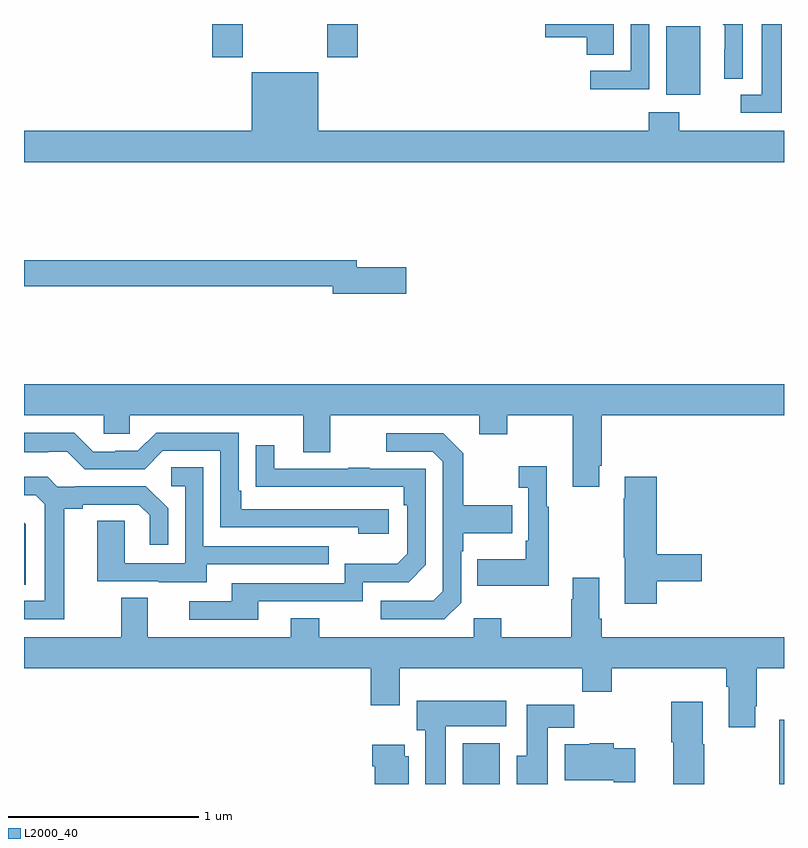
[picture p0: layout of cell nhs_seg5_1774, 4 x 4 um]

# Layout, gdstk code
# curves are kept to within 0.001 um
import gdstk
lib = gdstk.Library(unit=1e-6, precision=1e-09)
def R(c, l, rs):  # rectangles x0, y0, x1, y1
    for r in rs: c.add(gdstk.rectangle(r[:2], r[2:], *l))
def P(c, l, *ps):  # polygons
    for p in ps: c.add(gdstk.Polygon(p, *l))
L2000_40 = (2000, 40)

nhs_seg5_1774 = lib.new_cell('nhs_seg5_1774')
R(nhs_seg5_1774, L2000_40, [(219.308,874.799,219.505,875.014), (220.974,874.799,221,875.137), (220.379,878.426,220.558,878.787), (217.991,878.625,218.151,878.799), (218.596,878.625,218.756,878.799)])
P(nhs_seg5_1774, L2000_40, [(220.105,878.799),(219.744,878.799),(219.744,878.729),(219.962,878.729),(219.962,878.638),(220.105,878.638)],
  [(220.782,878.799),(220.678,878.799),(220.688,878.789),(220.688,878.666),(220.686,878.666),(220.686,878.512),(220.782,878.512)],
  [(220.29,878.799),(220.194,878.799),(220.194,878.553),(219.981,878.553),(219.981,878.455),(220.29,878.455)],
  [(220.987,878.799),(220.883,878.799),(220.883,878.427),(220.773,878.427),(220.773,878.331),(220.987,878.331)],
  [(221,878.236),(220.449,878.236),(220.449,878.335),(220.289,878.335),(220.289,878.236),(218.548,878.236),(218.548,878.545),(218.198,878.545),(218.198,878.236),(217,878.236),(217,878.072),(221,878.072)],
  [(219.013,877.52),(218.752,877.52),(218.752,877.556),(217,877.556),(217,877.42),(218.624,877.42),(218.624,877.378),(219.013,877.378)],
  [(220.027,876.475),(220.04,876.475),(220.04,876.74),(221,876.74),(221,876.904),(217,876.904),(217,876.74),(217.419,876.74),(217.419,876.642),(217.557,876.642),(217.557,876.74),(218.471,876.74),(218.471,876.546),(218.611,876.546),(218.611,876.74),(219.395,876.74),(219.395,876.641),(219.543,876.641),(219.543,876.74),(219.887,876.74),(219.887,876.363),(220.027,876.363)],
  [(218.92,876.246),(218.143,876.246),(218.143,876.343),(218.13,876.343),(218.13,876.648),(217.695,876.648),(217.599,876.552),(217.481,876.552),(217.481,876.549),(217.365,876.549),(217.265,876.649),(217,876.649),(217,876.545),(217.127,876.545),(217.127,876.549),(217.227,876.549),(217.32,876.456),(217.635,876.456),(217.731,876.552),(218.034,876.552),(218.034,876.15),(218.759,876.15),(218.759,876.116),(218.92,876.116)],
  [(219.3,875.754),(219.3,876.023),(219.313,876.023),(219.313,876.119),(219.569,876.119),(219.569,876.267),(219.313,876.267),(219.313,876.539),(219.207,876.645),(218.907,876.645),(218.907,876.549),(219.15,876.549),(219.204,876.495),(219.204,875.814),(219.153,875.763),(218.877,875.763),(218.877,875.667),(219.213,875.667)],
  [(218.233,875.76),(218.784,875.76),(218.784,875.862),(219.024,875.862),(219.114,875.952),(219.114,876.459),(218.819,876.459),(218.819,876.464),(218.707,876.464),(218.707,876.459),(218.317,876.459),(218.317,876.583),(218.221,876.583),(218.221,876.364),(218.998,876.363),(218.998,876.266),(219.018,876.266),(219.018,876.012),(218.965,875.959),(218.688,875.959),(218.688,875.856),(218.093,875.856),(218.093,875.76),(217.869,875.76),(217.869,875.664),(218.233,875.664)],
  [(219.763,876.259),(219.751,876.259),(219.751,876.472),(219.603,876.472),(219.603,876.359),(219.654,876.359),(219.654,876.079),(219.642,876.079),(219.642,875.983),(219.385,875.983),(219.385,875.843),(219.763,875.843)],
  [(217.963,875.955),(218.603,875.955),(218.603,876.051),(217.944,876.051),(217.944,876.467),(217.776,876.467),(217.776,876.366),(217.848,876.366),(217.848,875.961),(217.53,875.961),(217.53,876.185),(217.385,876.185),(217.385,875.865),(217.709,875.865),(217.709,875.861),(217.963,875.861)],
  [(220.331,875.866),(220.567,875.866),(220.567,876.008),(220.331,876.008),(220.331,876.415),(220.163,876.415),(220.163,876.302),(220.156,876.302),(220.156,875.991),(220.163,875.991),(220.163,875.748),(220.331,875.748)],
  [(217.213,876.248),(217.309,876.248),(217.309,876.27),(217.604,876.27),(217.661,876.213),(217.661,876.057),(217.758,876.057),(217.758,876.25),(217.642,876.366),(217.27,876.366),(217.27,876.363),(217.176,876.363),(217.124,876.415),(217,876.415),(217,876.318),(217.062,876.318),(217.109,876.271),(217.109,875.763),(217,875.763),(217,875.667),(217.213,875.667)],
  [(217.008,876.166),(217,876.174),(217,875.848),(217.008,875.848)],
  [(220.04,875.668),(220.027,875.668),(220.027,875.884),(219.887,875.884),(219.887,875.771),(219.88,875.771),(219.88,875.572),(219.513,875.572),(219.513,875.671),(219.366,875.671),(219.366,875.572),(218.553,875.572),(218.553,875.671),(218.405,875.671),(218.405,875.572),(217.651,875.572),(217.651,875.78),(217.511,875.78),(217.511,875.572),(217,875.572),(217,875.408),(218.825,875.408),(218.825,875.214),(218.977,875.214),(218.977,875.408),(219.937,875.408),(219.937,875.284),(220.094,875.284),(220.094,875.408),(220.697,875.408),(220.697,875.312),(220.709,875.312),(220.709,875.097),(220.849,875.097),(220.849,875.209),(220.857,875.209),(220.857,875.408),(221,875.408),(221,875.572),(220.04,875.572)],
  [(219.22,875.102),(219.538,875.102),(219.538,875.236),(219.068,875.236),(219.068,875.082),(219.113,875.082),(219.113,874.799),(219.22,874.799)],
  [(220.581,875.009),(220.573,875.009),(220.573,875.233),(220.406,875.233),(220.406,875.02),(220.418,875.02),(220.418,874.799),(220.581,874.799)],
  [(219.757,875.096),(219.896,875.096),(219.896,875.215),(219.647,875.215),(219.647,874.948),(219.593,874.948),(219.593,874.799),(219.757,874.799)],
  [(220.216,874.986),(220.104,874.986),(220.104,875.014),(219.978,875.014),(219.978,875.008),(219.845,875.008),(219.845,874.82),(220.103,874.82),(220.103,874.808),(220.216,874.808)],
  [(219.025,874.944),(219.004,874.944),(219.004,875.005),(218.834,875.005),(218.834,874.892),(218.846,874.892),(218.846,874.799),(219.025,874.799)])

lib.write_gds('nhs_seg5_1774.gds')
